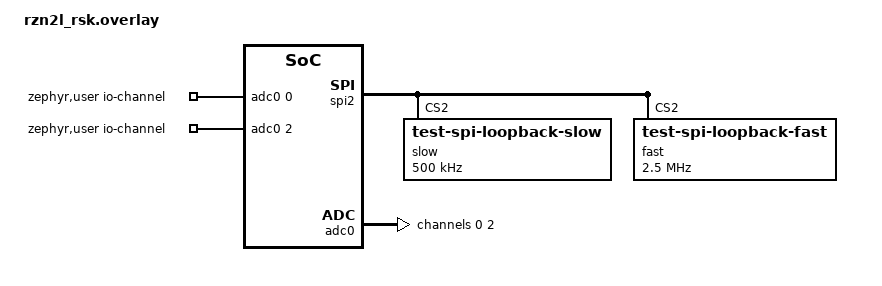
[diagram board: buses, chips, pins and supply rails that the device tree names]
/*
 * Copyright (c) 2025 Renesas Electronics Corporation
 *
 * SPDX-License-Identifier: Apache-2.0
 */

&dma0 {
	status = "okay";
};

tst_dma0: &dma0 {};

&spi2 {
	slow@2 {
		compatible = "test-spi-loopback-slow";
		reg = <2>;
		spi-max-frequency = <500000>;
	};
	fast@2 {
		compatible = "test-spi-loopback-fast";
		reg = <2>;
		spi-max-frequency = <2500000>;
	};
};

/ {
	zephyr,user {
		io-channels = <&adc0 0>, <&adc0 2>;
	};
};

&adc0 {
	status = "okay";
	#address-cells = <1>;
	#size-cells = <0>;
	channel@0 {
		reg = <0>;
		zephyr,gain = "ADC_GAIN_1";
		zephyr,reference = "ADC_REF_INTERNAL";
		zephyr,resolution = <12>;
		zephyr,acquisition-time = <ADC_ACQ_TIME_DEFAULT>;
		zephyr,vref-mv = <1800>;
	};
	channel@2 {
		reg = <2>;
		zephyr,gain = "ADC_GAIN_1";
		zephyr,reference = "ADC_REF_INTERNAL";
		zephyr,resolution = <12>;
		zephyr,acquisition-time = <ADC_ACQ_TIME_DEFAULT>;
		zephyr,vref-mv = <1800>;
	};
};
